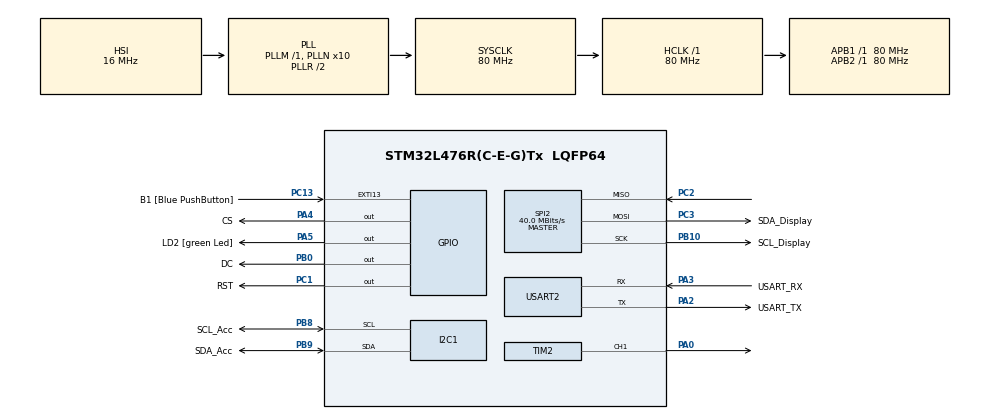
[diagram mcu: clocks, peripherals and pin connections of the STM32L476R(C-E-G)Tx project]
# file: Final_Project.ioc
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I2C1.Timing=0x10D19CE4
Mcu.Family=STM32L4
Mcu.Name=STM32L476R(C-E-G)Tx
Mcu.Package=LQFP64
NVIC.PriorityGroup=NVIC_PRIORITYGROUP_4
PA0.Signal=S_TIM2_CH1
PA13\ (JTMS-SWDIO).GPIO_Label=TMS
PA13\ (JTMS-SWDIO).Mode=Serial_Wire
PA13\ (JTMS-SWDIO).Signal=SYS_JTMS-SWDIO
PA14\ (JTCK-SWCLK).GPIO_Label=TCK
PA14\ (JTCK-SWCLK).Mode=Serial_Wire
PA14\ (JTCK-SWCLK).Signal=SYS_JTCK-SWCLK
PA2.GPIO_Label=USART_TX
PA2.GPIO_Mode=GPIO_MODE_AF_PP
PA2.GPIO_PuPd=GPIO_NOPULL
PA2.GPIO_Speed=GPIO_SPEED_FREQ_VERY_HIGH
PA2.Mode=Asynchronous
PA2.Signal=USART2_TX
PA3.GPIO_Label=USART_RX
PA3.GPIO_Mode=GPIO_MODE_AF_PP
PA3.GPIO_PuPd=GPIO_NOPULL
PA3.GPIO_Speed=GPIO_SPEED_FREQ_VERY_HIGH
PA3.Mode=Asynchronous
PA3.Signal=USART2_RX
PA4.GPIO_Label=CS
PA4.Signal=GPIO_Output
PA5.GPIO_Label=LD2 [green Led]
PA5.GPIO_ModeDefaultOutputPP=GPIO_MODE_OUTPUT_PP
PA5.GPIO_PuPd=GPIO_NOPULL
PA5.GPIO_Speed=GPIO_SPEED_FREQ_LOW
PA5.Signal=GPIO_Output
PB0.GPIO_Label=DC
PB0.Signal=GPIO_Output
PB10.GPIO_Label=SCL_Display
PB10.Mode=Full_Duplex_Master
PB10.Signal=SPI2_SCK
PB3\ (JTDO-TRACESWO).GPIO_Label=SWO
PB3\ (JTDO-TRACESWO).Signal=SYS_JTDO-SWO
PB8.GPIO_Label=SCL_Acc
PB8.Mode=I2C
PB8.Signal=I2C1_SCL
PB9.GPIO_Label=SDA_Acc
PB9.Mode=I2C
PB9.Signal=I2C1_SDA
PC1.GPIO_Label=RST
PC1.Signal=GPIO_Output
PC13.GPIO_Label=B1 [Blue PushButton]
PC13.GPIO_ModeDefaultEXTI=GPIO_MODE_IT_FALLING
PC13.GPIO_PuPd=GPIO_NOPULL
PC13.Signal=GPXTI13
PC14-OSC32_IN\ (PC14).Mode=LSE-External-Oscillator
PC14-OSC32_IN\ (PC14).Signal=RCC_OSC32_IN
PC15-OSC32_OUT\ (PC15).Mode=LSE-External-Oscillator
PC15-OSC32_OUT\ (PC15).Signal=RCC_OSC32_OUT
PC2.Mode=Full_Duplex_Master
PC2.Signal=SPI2_MISO
PC3.GPIO_Label=SDA_Display
PC3.Mode=Full_Duplex_Master
PC3.Signal=SPI2_MOSI
PH0-OSC_IN\ (PH0).Signal=RCC_OSC_IN
PH1-OSC_OUT\ (PH1).Signal=RCC_OSC_OUT
ProjectManager.HeapSize=0x200
ProjectManager.StackSize=0x400
ProjectManager.TargetToolchain=STM32CubeIDE
RCC.ADCFreq_Value=64000000
RCC.AHBFreq_Value=80000000
RCC.APB1Freq_Value=80000000
RCC.APB1TimFreq_Value=80000000
RCC.APB2Freq_Value=80000000
RCC.APB2TimFreq_Value=80000000
RCC.CortexFreq_Value=80000000
RCC.HCLKFreq_Value=80000000
RCC.HSE_VALUE=8000000
RCC.HSI_VALUE=16000000
RCC.MSI_VALUE=4000000
RCC.PLLN=10
RCC.PLLSourceVirtual=RCC_PLLSOURCE_HSI
RCC.PREFETCH_ENABLE=1
RCC.SYSCLKFreq_VALUE=80000000
RCC.SYSCLKSource=RCC_SYSCLKSOURCE_PLLCLK
RCC.USBFreq_Value=64000000
RCC.VCOOutputFreq_Value=160000000
SH.S_TIM2_CH1.0=TIM2_CH1,PWM Generation1 CH1
SPI2.CalculateBaudRate=40.0 MBits/s
SPI2.DataSize=SPI_DATASIZE_8BIT
SPI2.Direction=SPI_DIRECTION_2LINES
SPI2.Mode=SPI_MODE_MASTER
SPI2.VirtualType=VM_MASTER
TIM2.Channel-PWM\ Generation1\ CH1=TIM_CHANNEL_1
TIM2.Period=999
TIM2.Prescaler=79
TIM2.Pulse-PWM\ Generation1\ CH1=500
USART2.VirtualMode-Asynchronous=VM_ASYNC
board=NUCLEO-L476RG

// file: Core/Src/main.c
/* USER CODE BEGIN Header */
/**
  ******************************************************************************
  * @file           : main.c
  * @brief          : Main program body
  ******************************************************************************
  * @attention
  *
  * Copyright (c) 2026 STMicroelectronics.
  * All rights reserved.
  *
  * This software is licensed under terms that can be found in the LICENSE file
  * in the root directory of this software component.
  * If no LICENSE file comes with this software, it is provided AS-IS.
  *
  ******************************************************************************
  */
/* USER CODE END Header */
#include "main.h"

/* USER CODE BEGIN Includes */
#include "font.h"
#include <math.h>
#include <stdlib.h>
/* USER CODE END Includes */

/* USER CODE BEGIN PM */
// Display dimensions
#define NUMROWS 160
#define NUMCOLS 128
// Common 16-bit RGB colors: bbbbb gggggg rrrrr
#define BLACK 0x0000 // 00000 000000 00000
#define WHITE 0xFFFF // 11111 111111 11111 (red + green + blue)
#define RED 0x001F // 00000 000000 11111
#define GREEN 0x07E0 // 00000 111111 00000
#define BLUE 0xF800 // 11111 000000 00000
#define CYAN 0xFFE0 // 11111 111111 00000 (green + blue)
#define MAGENTA 0xF81F // 11111 000000 11111 (red + blue)
#define YELLOW 0x07FF // 00000 111111 11111 (red + green)
#define ORANGE 0x041F // 00000 100000 11111 (red + 50% green)
#define PURPLE 0x8010 // 10000 000000 10000 (50% red + 50% blue)
#define GRAY 0x8410 // 10000 100000 10000 (50% red + 50% green + 50% blue)
#define LIGHTGRAY 0xC618 // 11000 110000 11000 (75% red + 75% green + 75% blue)
#define DARKGRAY 0x4208 // 01000 010000 01000 (25% red + 25% green + 25% blue)
// ST7735 command codes
#define SWRESET 0x01
#define SLPOUT 0x11
#define COLMOD 0x3A
#define MADCTL 0x36
#define DISPON 0x29
#define CASET 0x2A
#define RASET 0x2B
#define RAMWR 0x2C
#define COLOR_MODE_16BIT 0x05
#define MADCTL_DEFAULT 0xC8
// MPU6050
#define MPU6050_ADDR (0x68 << 1)  // shift for HAL
/* USER CODE END PM */

I2C_HandleTypeDef hi2c1;

SPI_HandleTypeDef hspi2;

TIM_HandleTypeDef htim2;

UART_HandleTypeDef huart2;

/* USER CODE BEGIN PV */
uint16_t cursor_x = 0; // start at left
uint16_t cursor_y = 0; // start at top
int16_t Accel_X, Accel_Y, Accel_Z; // Initialize variables for the accelerometer
int16_t Gyro_X, Gyro_Y, Gyro_Z; // Initialize variables for the gyroscope
float angle_x = 0.0f;
float angle_y = 0.0f;
float dt = 0.01f;   // 10 ms loop time
int prev_x = 64;
int prev_y = 80;
/* USER CODE END PV */

void SystemClock_Config(void);
static void MX_GPIO_Init(void);
static void MX_I2C1_Init(void);
static void MX_SPI2_Init(void);
static void MX_USART2_UART_Init(void);
static void MX_TIM2_Init(void);
/* USER CODE BEGIN PFP */
void ST7735_Reset();
void ST7735_Command(uint8_t cmd);
void ST7735_Init(void);
void ST7735_Data(uint8_t data[], uint16_t size);
void ST7735_SetAddressWindow(uint16_t xStart, uint16_t yStart, uint16_t xEnd, uint16_t yEnd);
void ST7735_DrawPixel(uint8_t x, uint8_t y, uint16_t color);
void ST7735_DrawScreen(uint16_t frame[NUMROWS][NUMCOLS]);
void ST7735_UpdateCharCursor(uint16_t x, uint16_t y);
void ST7735_PrintChar(char character);
void ST7735_PrintString(char* string);
void ST7735_FillScreen(uint16_t color);
void MPU6050_Init();
void MPU6050_Read_Accel();
void MPU6050_Read_Gyro();
/* USER CODE END PFP */

int main(void)
{

  /* MCU Configuration--------------------------------------------------------*/

  /* Reset of all peripherals, Initializes the Flash interface and the Systick. */
  HAL_Init();

  /* Configure the system clock */
  SystemClock_Config();

  /* Initialize all configured peripherals */
  MX_GPIO_Init();
  MX_I2C1_Init();
  MX_SPI2_Init();
  MX_USART2_UART_Init();
  MX_TIM2_Init();
  /* USER CODE BEGIN 2 */
  ST7735_Init();
  MPU6050_Init();
  HAL_TIM_PWM_Start(&htim2, TIM_CHANNEL_1);
  ST7735_FillScreen(WHITE);
  /* USER CODE END 2 */

  /* Infinite loop */
  /* USER CODE BEGIN WHILE */
  while (1)
  {
	MPU6050_Read_Accel(); // read the sensor data of the accelerometer
    MPU6050_Read_Gyro(); // read the sensor data of the gyroscope

    // set the acceleration in each direction (g's)
    float Ax = Accel_X / 16384.0;
    float Ay = Accel_Y / 16384.0;
    float Az = Accel_Z / 16384.0;

    // convert gyroscope data to degrees/sec
    float Gx = Gyro_X / 131.0;
    float Gy = Gyro_Y / 131.0;

    float accel_angle_x = atan2(Ay, Az) * 180 / M_PI; // calculate the x tilt angle and convert from rads to degrees
    float accel_angle_y = atan2(-Ax, sqrt(Ay*Ay + Az*Az)) * 180 / M_PI; // calculate the y tilt angle and convert from rads to degrees

    // integrate the gyroscope and the accelerometer for smooth motion tracking
    // The first part is the gyroscope, which tracks the motion; the second part is the correction from the accelerometer
    // to keep the system from drifting
    angle_x = 0.98 * (angle_x + Gx * dt) + 0.02 * accel_angle_x;
    angle_y = 0.98 * (angle_y + Gy * dt) + 0.02 * accel_angle_y;

    // multiply the angle by a value like 2 or 3 to increase the sensitivity, higher value equals more sensitive to tilt
    int x = 64 + angle_y * 3; // map angle data to x screen position for the pixel
    int y = 80 + angle_x * 3; // map angle data to y screen position for the pixel

    int dx = abs(x - 64); // compare where the pixel x value is in relation to the center
	int dy = abs(y - 80); // compare where the pixel y value is in relation to the center

	uint16_t color; // initialize a color variable

	if (dx < 20 && dy < 25)  // if within the middle of the screen, display green pixels
		color = GREEN;
	else if (dx < 40 && dy < 50) // if outside the middle but before the outer ring of the screen, display yellow pixels
		color = YELLOW;
	else // if in the outer ring of the screen, display red pixels
		color = RED;

	static uint16_t last_color = 0xFFFF; // Initialize a last_color variable for the loop below

	if (color != last_color) { // If the last color is different update how the buzzer should sound
		if (color == YELLOW) {
			__HAL_TIM_SET_AUTORELOAD(&htim2, 1000); // set the ARR to 1000 for a longer count cycle
			__HAL_TIM_SET_COMPARE(&htim2, TIM_CHANNEL_1, 500); // lower pitch
		}
		else if (color == RED) {
			__HAL_TIM_SET_AUTORELOAD(&htim2, 500); // set the ARR to 500 for a shorter count cycle
			__HAL_TIM_SET_COMPARE(&htim2, TIM_CHANNEL_1, 250); // higher pitch
		}
		else { // Green
			__HAL_TIM_SET_COMPARE(&htim2, TIM_CHANNEL_1, 0);  // no sound
		}
		__HAL_TIM_SET_COUNTER(&htim2, 0); // reset the counter
		last_color = color; // set the new last color
	}

    // erase old pixel
	ST7735_DrawPixel(prev_x, prev_y, WHITE);
	ST7735_DrawPixel(prev_x, prev_y + 1, WHITE);
	ST7735_DrawPixel(prev_x + 1, prev_y, WHITE);
	ST7735_DrawPixel(prev_x + 1, prev_y + 1, WHITE);
	// draw new pixel
	ST7735_DrawPixel(x, y, color);
	ST7735_DrawPixel(x, y + 1, color);
	ST7735_DrawPixel(x + 1, y, color);
	ST7735_DrawPixel(x + 1, y + 1, color);
	// save new position
	prev_x = x;
	prev_y = y;
    /* USER CODE END WHILE */

  }
}

void SystemClock_Config(void)
{
  RCC_OscInitTypeDef RCC_OscInitStruct = {0};
  RCC_ClkInitTypeDef RCC_ClkInitStruct = {0};

  /** Configure the main internal regulator output voltage
  */
  if (HAL_PWREx_ControlVoltageScaling(PWR_REGULATOR_VOLTAGE_SCALE1) != HAL_OK)
  {
    Error_Handler();
  }

  /** Initializes the RCC Oscillators according to the specified parameters
  * in the RCC_OscInitTypeDef structure.
  */
  RCC_OscInitStruct.OscillatorType = RCC_OSCILLATORTYPE_HSI;
  RCC_OscInitStruct.HSIState = RCC_HSI_ON;
  RCC_OscInitStruct.HSICalibrationValue = RCC_HSICALIBRATION_DEFAULT;
  RCC_OscInitStruct.PLL.PLLState = RCC_PLL_ON;
  RCC_OscInitStruct.PLL.PLLSource = RCC_PLLSOURCE_HSI;
  RCC_OscInitStruct.PLL.PLLM = 1;
  RCC_OscInitStruct.PLL.PLLN = 10;
  RCC_OscInitStruct.PLL.PLLP = RCC_PLLP_DIV7;
  RCC_OscInitStruct.PLL.PLLQ = RCC_PLLQ_DIV2;
  RCC_OscInitStruct.PLL.PLLR = RCC_PLLR_DIV2;
  if (HAL_RCC_OscConfig(&RCC_OscInitStruct) != HAL_OK)
  {
    Error_Handler();
  }

  /** Initializes the CPU, AHB and APB buses clocks
  */
  RCC_ClkInitStruct.ClockType = RCC_CLOCKTYPE_HCLK|RCC_CLOCKTYPE_SYSCLK
                              |RCC_CLOCKTYPE_PCLK1|RCC_CLOCKTYPE_PCLK2;
  RCC_ClkInitStruct.SYSCLKSource = RCC_SYSCLKSOURCE_PLLCLK;
  RCC_ClkInitStruct.AHBCLKDivider = RCC_SYSCLK_DIV1;
  RCC_ClkInitStruct.APB1CLKDivider = RCC_HCLK_DIV1;
  RCC_ClkInitStruct.APB2CLKDivider = RCC_HCLK_DIV1;

  if (HAL_RCC_ClockConfig(&RCC_ClkInitStruct, FLASH_LATENCY_4) != HAL_OK)
  {
    Error_Handler();
  }
}

static void MX_I2C1_Init(void)
{

  hi2c1.Instance = I2C1;
  hi2c1.Init.Timing = 0x10D19CE4;
  hi2c1.Init.OwnAddress1 = 0;
  hi2c1.Init.AddressingMode = I2C_ADDRESSINGMODE_7BIT;
  hi2c1.Init.DualAddressMode = I2C_DUALADDRESS_DISABLE;
  hi2c1.Init.OwnAddress2 = 0;
  hi2c1.Init.OwnAddress2Masks = I2C_OA2_NOMASK;
  hi2c1.Init.GeneralCallMode = I2C_GENERALCALL_DISABLE;
  hi2c1.Init.NoStretchMode = I2C_NOSTRETCH_DISABLE;
  if (HAL_I2C_Init(&hi2c1) != HAL_OK)
  {
    Error_Handler();
  }

  /** Configure Analogue filter
  */
  if (HAL_I2CEx_ConfigAnalogFilter(&hi2c1, I2C_ANALOGFILTER_ENABLE) != HAL_OK)
  {
    Error_Handler();
  }

  /** Configure Digital filter
  */
  if (HAL_I2CEx_ConfigDigitalFilter(&hi2c1, 0) != HAL_OK)
  {
    Error_Handler();
  }

}

static void MX_SPI2_Init(void)
{

  /* SPI2 parameter configuration*/
  hspi2.Instance = SPI2;
  hspi2.Init.Mode = SPI_MODE_MASTER;
  hspi2.Init.Direction = SPI_DIRECTION_2LINES;
  hspi2.Init.DataSize = SPI_DATASIZE_8BIT;
  hspi2.Init.CLKPolarity = SPI_POLARITY_LOW;
  hspi2.Init.CLKPhase = SPI_PHASE_1EDGE;
  hspi2.Init.NSS = SPI_NSS_SOFT;
  hspi2.Init.BaudRatePrescaler = SPI_BAUDRATEPRESCALER_2;
  hspi2.Init.FirstBit = SPI_FIRSTBIT_MSB;
  hspi2.Init.TIMode = SPI_TIMODE_DISABLE;
  hspi2.Init.CRCCalculation = SPI_CRCCALCULATION_DISABLE;
  hspi2.Init.CRCPolynomial = 7;
  hspi2.Init.CRCLength = SPI_CRC_LENGTH_DATASIZE;
  hspi2.Init.NSSPMode = SPI_NSS_PULSE_ENABLE;
  if (HAL_SPI_Init(&hspi2) != HAL_OK)
  {
    Error_Handler();
  }

}

static void MX_TIM2_Init(void)
{

  TIM_MasterConfigTypeDef sMasterConfig = {0};
  TIM_OC_InitTypeDef sConfigOC = {0};

  htim2.Instance = TIM2;
  htim2.Init.Prescaler = 79;
  htim2.Init.CounterMode = TIM_COUNTERMODE_UP;
  htim2.Init.Period = 999;
  htim2.Init.ClockDivision = TIM_CLOCKDIVISION_DIV1;
  htim2.Init.AutoReloadPreload = TIM_AUTORELOAD_PRELOAD_DISABLE;
  if (HAL_TIM_PWM_Init(&htim2) != HAL_OK)
  {
    Error_Handler();
  }
  sMasterConfig.MasterOutputTrigger = TIM_TRGO_RESET;
  sMasterConfig.MasterSlaveMode = TIM_MASTERSLAVEMODE_DISABLE;
  if (HAL_TIMEx_MasterConfigSynchronization(&htim2, &sMasterConfig) != HAL_OK)
  {
    Error_Handler();
  }
  sConfigOC.OCMode = TIM_OCMODE_PWM1;
  sConfigOC.Pulse = 500;
  sConfigOC.OCPolarity = TIM_OCPOLARITY_HIGH;
  sConfigOC.OCFastMode = TIM_OCFAST_DISABLE;
  if (HAL_TIM_PWM_ConfigChannel(&htim2, &sConfigOC, TIM_CHANNEL_1) != HAL_OK)
  {
    Error_Handler();
  }
  HAL_TIM_MspPostInit(&htim2);

}

static void MX_USART2_UART_Init(void)
{

  huart2.Instance = USART2;
  huart2.Init.BaudRate = 115200;
  huart2.Init.WordLength = UART_WORDLENGTH_8B;
  huart2.Init.StopBits = UART_STOPBITS_1;
  huart2.Init.Parity = UART_PARITY_NONE;
  huart2.Init.Mode = UART_MODE_TX_RX;
  huart2.Init.HwFlowCtl = UART_HWCONTROL_NONE;
  huart2.Init.OverSampling = UART_OVERSAMPLING_16;
  huart2.Init.OneBitSampling = UART_ONE_BIT_SAMPLE_DISABLE;
  huart2.AdvancedInit.AdvFeatureInit = UART_ADVFEATURE_NO_INIT;
  if (HAL_UART_Init(&huart2) != HAL_OK)
  {
    Error_Handler();
  }

}

static void MX_GPIO_Init(void)
{
  GPIO_InitTypeDef GPIO_InitStruct = {0};

  /* GPIO Ports Clock Enable */
  __HAL_RCC_GPIOC_CLK_ENABLE();
  __HAL_RCC_GPIOH_CLK_ENABLE();
  __HAL_RCC_GPIOA_CLK_ENABLE();
  __HAL_RCC_GPIOB_CLK_ENABLE();

  /*Configure GPIO pin Output Level */
  HAL_GPIO_WritePin(RST_GPIO_Port, RST_Pin, GPIO_PIN_RESET);

  /*Configure GPIO pin Output Level */
  HAL_GPIO_WritePin(GPIOA, CS_Pin|LD2_Pin, GPIO_PIN_RESET);

  /*Configure GPIO pin Output Level */
  HAL_GPIO_WritePin(DC_GPIO_Port, DC_Pin, GPIO_PIN_RESET);

  /*Configure GPIO pin : B1_Pin */
  GPIO_InitStruct.Pin = B1_Pin;
  GPIO_InitStruct.Mode = GPIO_MODE_IT_FALLING;
  GPIO_InitStruct.Pull = GPIO_NOPULL;
  HAL_GPIO_Init(B1_GPIO_Port, &GPIO_InitStruct);

  /*Configure GPIO pin : RST_Pin */
  GPIO_InitStruct.Pin = RST_Pin;
  GPIO_InitStruct.Mode = GPIO_MODE_OUTPUT_PP;
  GPIO_InitStruct.Pull = GPIO_NOPULL;
  GPIO_InitStruct.Speed = GPIO_SPEED_FREQ_LOW;
  HAL_GPIO_Init(RST_GPIO_Port, &GPIO_InitStruct);

  /*Configure GPIO pins : CS_Pin LD2_Pin */
  GPIO_InitStruct.Pin = CS_Pin|LD2_Pin;
  GPIO_InitStruct.Mode = GPIO_MODE_OUTPUT_PP;
  GPIO_InitStruct.Pull = GPIO_NOPULL;
  GPIO_InitStruct.Speed = GPIO_SPEED_FREQ_LOW;
  HAL_GPIO_Init(GPIOA, &GPIO_InitStruct);

  /*Configure GPIO pin : DC_Pin */
  GPIO_InitStruct.Pin = DC_Pin;
  GPIO_InitStruct.Mode = GPIO_MODE_OUTPUT_PP;
  GPIO_InitStruct.Pull = GPIO_NOPULL;
  GPIO_InitStruct.Speed = GPIO_SPEED_FREQ_LOW;
  HAL_GPIO_Init(DC_GPIO_Port, &GPIO_InitStruct);

}

/* USER CODE BEGIN 4 */
void ST7735_Reset() {
    HAL_GPIO_WritePin(RST_GPIO_Port, RST_Pin, GPIO_PIN_RESET);
    HAL_Delay(10);
    HAL_GPIO_WritePin(RST_GPIO_Port, RST_Pin, GPIO_PIN_SET);
    HAL_Delay(10);
}

void ST7735_Command(uint8_t cmd) {
    HAL_GPIO_WritePin(DC_GPIO_Port, DC_Pin, GPIO_PIN_RESET);
    HAL_GPIO_WritePin(CS_GPIO_Port, CS_Pin, GPIO_PIN_RESET);

    HAL_SPI_Transmit(&hspi2, &cmd, 1, HAL_MAX_DELAY);

    HAL_GPIO_WritePin(CS_GPIO_Port, CS_Pin, GPIO_PIN_SET);
}
void ST7735_Data(uint8_t data[], uint16_t size) {
 // Change the DC (Data/Command) pin to "Data" mode
 HAL_GPIO_WritePin(DC_GPIO_Port, DC_Pin, GPIO_PIN_SET);
 // Send the data
 HAL_GPIO_WritePin(CS_GPIO_Port, CS_Pin, GPIO_PIN_RESET); // select the device
 HAL_SPI_Transmit(&hspi2, data, size, HAL_MAX_DELAY); // transmit bytes
 HAL_GPIO_WritePin(CS_GPIO_Port, CS_Pin, GPIO_PIN_SET); // deselect the device
}
void ST7735_Init(void) {
 // Perform a hardware reset (reset low pulse)
 HAL_GPIO_WritePin(RST_GPIO_Port, RST_Pin, GPIO_PIN_RESET); // RST pin low
 HAL_Delay(5); // wait 5ms
 HAL_GPIO_WritePin(RST_GPIO_Port, RST_Pin, GPIO_PIN_SET); // RST pin high
 HAL_Delay(5); // wait 5ms
 // Perform a software reset
 ST7735_Command(0x01); // send a SWRESET (Software reset) command
 HAL_Delay(150);
 // Wake the display (exit low-power sleep mode)
 ST7735_Command(0x11); // Send a SLPOUT (Sleep out) command
 HAL_Delay(150);
 // Enter "Interface Pixel Format" mode and set to 16-bit color
 ST7735_Command(0x3A); // Send a COLMOD (Color Mode) command
 uint8_t colorMode = 0x05; // color mode = 16-bit/pixel
 ST7735_Data(&colorMode, 1); // send color mode value as a data message
 // Enter "Memory Data Access Control" mode and set to row/column order
 ST7735_Command(0x36); // Send a MADCTL (Memory Access Data Control) command
 uint8_t accessMode = 0xC8; // access mode = row/column order
 ST7735_Data(&accessMode, 1); // send access mode value as a data message
 // Turn on display
 ST7735_Command(0x29); // send a DISPON (Display On) command
 HAL_Delay(10);
}
void ST7735_DrawScreen(uint16_t frame[NUMROWS][NUMCOLS]) {
 // Select entire display
 ST7735_SetAddressWindow(0, 0, NUMCOLS-1, NUMROWS-1);
 // Transmit entire frame to display
 ST7735_Data((uint8_t*) frame, NUMROWS*NUMCOLS*2);
}
/**
 * @brief Updated the character cursor
 * @param x: the desired x coordinate (0 to 127)
 * @param y: the desired y coordinate (0 to 159)
 * @retval 0: success, 1: failure
 */
void ST7735_UpdateCharCursor(uint16_t x, uint16_t y){
 // Update
 cursor_x = x;
 cursor_y = y;
 // Perform any necessary wrap-around
 if (cursor_x > (NUMCOLS-8)){ // cursor goes off the right
 cursor_x = 0; // wrap back to left
 cursor_y += 8; // move cursor down one row
 }
 if (cursor_y > (NUMROWS-9)){ // cursor goes off the bottom
 cursor_x = 0;
 cursor_y = 0; // wrap back to top
 }
}
/**
 * @brief Draws an 8x8 character to the ST7735 (black on white) using the cursor
 * @param character: the ASCII value of the character to print (' ' through '~')
 * @retval None
 */
void ST7735_PrintChar(char character) {
 // Early exit if character is not supported
 if ((character < ' ') || (character > '~')) return;
 // Realign ASCII character to start of font table
 int fontIndex = character - 0x20; // 0x20 is where printable characters begin in ASCII
 // Get character data from font table
 const uint8_t* characterData = fontTable[fontIndex];
 // Set address window for 8x8 character
 ST7735_SetAddressWindow(cursor_x, cursor_y, cursor_x + 7, cursor_y + 7);
 // Process each row of the character, one at a time
 for (int row = 0; row < 8; row++) {
 // Get the data for the current row from the character array
 uint8_t rowData = characterData[row];
 // Process each pixel in the row (left to right, msb to lsb)
 for (int col = 7; col >= 0; col--) {
 // See if that pixel is black (1) or white (0)
 uint16_t color;
 if ((rowData & (1 << col)) == 0){ // bitmask one bit at a time
 color = WHITE;
 } else {
 color = BLACK;
 }
 // Transmit pixel data
 uint8_t pixelData[2] = { color >> 8, color & 0xFF }; // swap for Big Endian
 ST7735_Data(pixelData, 2); // send the data
 }
 }
 // Move cursor to next character window
 ST7735_UpdateCharCursor(cursor_x+8, cursor_y);
}
/**
 * @brief Draws the characters (A-Z) from string to display
 * @param x: the x coordinate of the top-left corner (0 to NUMCOLS-8)
 * @param y: the y coordinate of the top-left corner (0 to NUMROWS-8)
 * @param string: the character array
 * @retval None
 */
void ST7735_PrintString(char* string) {
 // Print each character, one at a time
 for (int i = 0; string[i] != '\0'; i++){
 ST7735_PrintChar(string[i]);
 }
}

/**
 * @brief Specifies the address window where the next pixel data will go
 * @param xStart: the starting x address
 * @param yStart: the starting y address
 * @param xEnd: the ending x address
 * @param yEnd: the ending y address
 * @retval None
 */
void ST7735_SetAddressWindow(uint16_t xStart, uint16_t yStart, uint16_t xEnd, uint16_t yEnd) {
 // Early exit if any dimensions are out of bounds
 if ((xStart > xEnd) || (yStart > yEnd) || (xEnd >= NUMCOLS) || (yEnd >= NUMROWS))
 return;
 // Adjust x,y internal offsets if needed by changing the zeros below:
 xStart += 0;
 xEnd += 0;
 yStart += 0;
 yEnd += 0;
 // Data array for configuration data
 uint8_t address[4];
 // Set column start/end
 ST7735_Command(0x2A); // Enter "Column address set" mode
 address[0] = xStart >> 8; // upper 8 bits of x starting address
 address[1] = xStart & 0xFF; // lower 8 bits of x starting address
 address[2] = xEnd >> 8; // upper 8 bits of x ending address
 address[3] = xEnd & 0xFF; // lower 8 bits of x ending address
 ST7735_Data(address, 4); // Transmit the 4 bytes of parameter data
 // Set row start/end
 ST7735_Command(0x2B); // Enter "Row address set" mode
 address[0] = yStart >> 8; // upper 8 bits of y starting address
 address[1] = yStart & 0xFF; // lower 8 bits of y starting address
 address[2] = yEnd >> 8; // upper 8 bits of y ending address
 address[3] = yEnd & 0xFF; // lower 8 bits of y ending address
 ST7735_Data(address, 4); // Transmit the 4 bytes of parameter data
 // Get ready to send pixel data
 ST7735_Command(0x2C); // Enter "RAM Write" mode (pixel writing mode)
}
/**
 * @brief Updates a specified pixel to a specified color
 * @param x: the x address of the pixel
 * @param y: the y address of the pixel
 * @param color: two-byte color value (bbbbb gggggg rrrrr)
 * @retval None
 */
void ST7735_DrawPixel(uint8_t x, uint8_t y, uint16_t color) {
 // Early exit if (x,y) is out of bounds
 if ((x >= NUMCOLS) || (y >= NUMROWS)) return;
 // Single pixel, so start and stop on the same (x,y) pixel
 ST7735_SetAddressWindow(x, y, x, y);
 // Organize the color as a two-byte value
 uint8_t pixelData[2] = { color >> 8, color & 0xFF }; // swap for Big Endian
 // Send the data
 ST7735_Data(pixelData, 2);
}
void ST7735_FillScreen(uint16_t color)
{
    ST7735_SetAddressWindow(0, 0, NUMCOLS-1, NUMROWS-1); // define the window to fill

    uint8_t data[2] = { color >> 8, color & 0xFF };

    for (int i = 0; i < NUMCOLS * NUMROWS; i++)
    {
        ST7735_Data(data, 2);
    }
}
void MPU6050_Init() {
    uint8_t data;

    // Wake up (write 0 to register 0x6B), turn the device on
    data = 0;
    HAL_I2C_Mem_Write(&hi2c1, MPU6050_ADDR, 0x6B, 1, &data, 1, HAL_MAX_DELAY);
}
void MPU6050_Read_Accel() { // reads raw acceleration data
    uint8_t buffer[6]; // create a 6 byte array (each axis needs two bytes)

    HAL_I2C_Mem_Read(&hi2c1, MPU6050_ADDR, 0x3B, 1, buffer, 6, HAL_MAX_DELAY); // read 6 bytes for x, y, and z information
    // data is stored in the buffer array and used below to get accelerometer data for each axis
    Accel_X = (int16_t)(buffer[0] << 8 | buffer[1]); // shift the upper byte 8 bits then add on the lower byte (same for y,z)
    Accel_Y = (int16_t)(buffer[2] << 8 | buffer[3]);
    Accel_Z = (int16_t)(buffer[4] << 8 | buffer[5]);
}
void MPU6050_Read_Gyro() { // reads angular velocity
    uint8_t buffer[6]; // create a 6 byte array (each axis needs two bytes)

    HAL_I2C_Mem_Read(&hi2c1, MPU6050_ADDR, 0x43, 1, buffer, 6, HAL_MAX_DELAY); // read 6 bytes for x, y, and z information
    // data is stored in the buffer array and used below to get accelerometer data for each axis
    Gyro_X = (int16_t)(buffer[0] << 8 | buffer[1]); // shift the upper byte 8 bits then add on the lower byte (same for y,z)
    Gyro_Y = (int16_t)(buffer[2] << 8 | buffer[3]);
    Gyro_Z = (int16_t)(buffer[4] << 8 | buffer[5]);
}
/* USER CODE END 4 */

void Error_Handler(void)
{
  __disable_irq();
  while (1)
  {
  }
}
